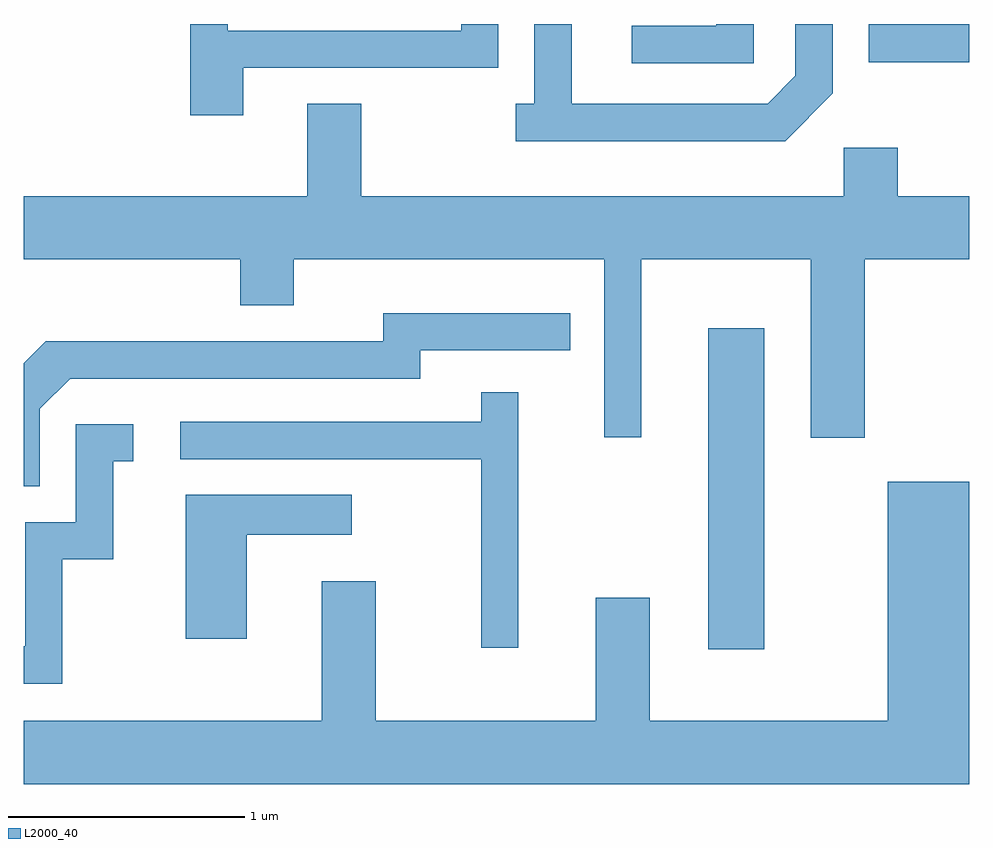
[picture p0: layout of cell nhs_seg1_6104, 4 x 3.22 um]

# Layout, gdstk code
import gdstk
lib = gdstk.Library(unit=1e-6, precision=1e-09)
def R(c, l, rs):  # rectangles x0, y0, x1, y1
    for r in rs: c.add(gdstk.rectangle(r[:2], r[2:], *l))
def P(c, l, *ps):  # polygons
    for p in ps: c.add(gdstk.Polygon(p, *l))
L2000_40 = (2000, 40)

nhs_seg1_6104 = lib.new_cell('nhs_seg1_6104')
R(nhs_seg1_6104, L2000_40, [(372.506,869.066,372.744,870.424), (373.186,871.551,373.611,871.712)])
P(nhs_seg1_6104, L2000_40, [(373.034,871.419),(373.034,871.712),(372.876,871.712),(372.876,871.492),(372.759,871.374),(371.929,871.374),(371.929,871.712),(371.771,871.712),(371.771,871.374),(371.693,871.374),(371.693,871.216),(372.832,871.216)],
  [(370.539,871.526),(371.619,871.526),(371.619,871.712),(371.461,871.712),(371.461,871.684),(370.474,871.684),(370.474,871.712),(370.316,871.712),(370.316,871.326),(370.539,871.326)],
  [(372.699,871.712),(372.541,871.712),(372.541,871.704),(372.183,871.704),(372.183,871.546),(372.699,871.546)],
  [(373.169,870.716),(373.611,870.716),(373.611,870.984),(373.309,870.984),(373.309,871.189),(373.081,871.189),(373.081,870.984),(371.039,870.984),(371.039,871.374),(370.811,871.374),(370.811,870.984),(369.611,870.984),(369.611,870.716),(370.526,870.716),(370.526,870.521),(370.754,870.521),(370.754,870.716),(372.066,870.716),(372.066,869.963),(372.224,869.963),(372.224,870.716),(372.941,870.716),(372.941,869.961),(373.169,869.961)],
  [(369.679,870.084),(369.807,870.211),(371.289,870.211),(371.289,870.331),(371.923,870.331),(371.923,870.489),(371.131,870.489),(371.131,870.369),(369.704,870.369),(369.611,870.277),(369.611,869.756),(369.679,869.756)],
  [(371.704,870.153),(371.546,870.153),(371.546,870.029),(370.273,870.029),(370.273,869.871),(371.546,869.871),(371.546,869.073),(371.704,869.073)],
  [(369.774,869.446),(369.989,869.446),(369.989,869.861),(370.073,869.861),(370.073,870.019),(369.831,870.019),(369.831,869.604),(369.616,869.604),(369.616,869.079),(369.611,869.079),(369.611,868.921),(369.774,868.921)],
  [(373.611,869.774),(373.266,869.774),(373.266,868.764),(372.259,868.764),(372.259,869.284),(372.031,869.284),(372.031,868.764),(371.099,868.764),(371.099,869.354),(370.871,869.354),(370.871,868.764),(369.611,868.764),(369.611,868.496),(373.611,868.496)],
  [(370.554,869.551),(370.998,869.551),(370.998,869.719),(370.296,869.719),(370.296,869.111),(370.554,869.111)])

lib.write_gds('nhs_seg1_6104.gds')
